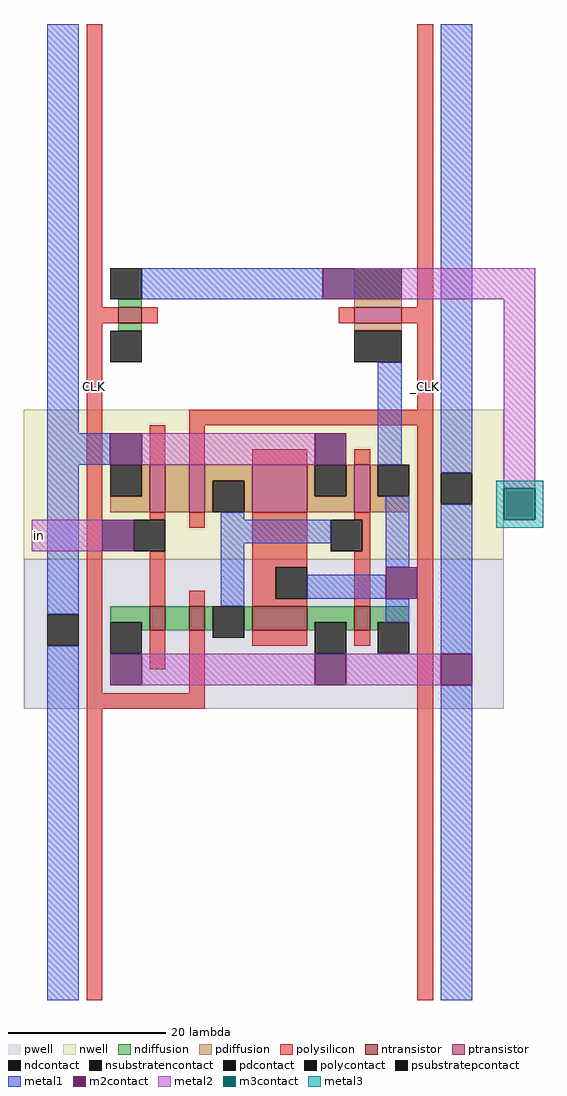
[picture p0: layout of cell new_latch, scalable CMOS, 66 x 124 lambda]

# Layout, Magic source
magic
tech scmos
<< nwell >>
rect 31 28 92 47
<< pwell >>
rect 31 9 92 28
<< ntransistor >>
rect 43 58 46 60
rect 47 19 49 22
rect 52 19 54 22
rect 60 19 67 22
rect 73 19 75 22
<< ptransistor >>
rect 73 58 79 60
rect 47 34 49 40
rect 52 34 54 40
rect 60 34 67 40
rect 73 34 75 40
<< ndiffusion >>
rect 43 60 46 61
rect 43 57 46 58
rect 42 20 47 22
rect 46 19 47 20
rect 49 19 52 22
rect 54 19 55 22
rect 59 19 60 22
rect 67 20 73 22
rect 67 19 68 20
rect 72 19 73 20
rect 75 20 80 22
rect 75 19 76 20
<< pdiffusion >>
rect 73 60 79 61
rect 73 57 79 58
rect 46 36 47 40
rect 42 34 47 36
rect 49 34 52 40
rect 54 38 60 40
rect 54 34 55 38
rect 59 34 60 38
rect 67 36 68 40
rect 72 36 73 40
rect 67 34 73 36
rect 75 36 76 40
rect 75 34 80 36
<< ndcontact >>
rect 42 61 46 65
rect 42 53 46 57
rect 42 16 46 20
rect 55 18 59 22
rect 68 16 72 20
rect 76 16 80 20
<< pdcontact >>
rect 73 61 79 65
rect 73 53 79 57
rect 42 36 46 40
rect 55 34 59 38
rect 68 36 72 40
rect 76 36 80 40
<< psubstratepcontact >>
rect 34 17 38 21
<< nsubstratencontact >>
rect 84 35 88 39
<< polysilicon >>
rect 39 60 41 96
rect 81 60 83 96
rect 39 58 43 60
rect 46 58 48 60
rect 71 58 73 60
rect 79 58 83 60
rect 39 11 41 58
rect 81 47 83 58
rect 52 45 83 47
rect 47 40 49 45
rect 52 40 54 45
rect 60 40 67 42
rect 73 40 75 42
rect 47 33 49 34
rect 52 32 54 34
rect 47 22 49 29
rect 60 27 67 34
rect 73 33 75 34
rect 74 29 75 33
rect 52 22 54 24
rect 60 23 63 27
rect 60 22 67 23
rect 73 22 75 29
rect 47 14 49 19
rect 52 11 54 19
rect 60 17 67 19
rect 73 17 75 19
rect 39 9 54 11
rect 39 -28 41 9
rect 81 -28 83 45
<< polycontact >>
rect 45 29 49 33
rect 70 29 74 33
rect 63 23 67 27
<< metal1 >>
rect 34 44 38 96
rect 46 61 69 65
rect 34 40 42 44
rect 34 21 38 40
rect 76 40 79 53
rect 56 33 59 34
rect 56 30 70 33
rect 56 22 59 30
rect 77 27 80 36
rect 84 39 88 96
rect 67 23 77 26
rect 34 -28 38 17
rect 77 20 80 23
rect 84 16 88 35
rect 84 -28 88 12
<< m2contact >>
rect 69 61 73 65
rect 42 40 46 44
rect 68 40 72 44
rect 41 29 45 33
rect 77 23 81 27
rect 42 12 46 16
rect 68 12 72 16
rect 84 12 88 16
<< metal2 >>
rect 73 61 96 65
rect 46 40 68 44
rect 92 37 96 61
rect 32 29 41 33
rect 46 12 68 16
rect 72 12 84 16
<< m3contact >>
rect 92 33 96 37
<< metal3 >>
rect 91 37 97 38
rect 91 33 92 37
rect 96 33 97 37
rect 91 32 97 33
<< labels >>
rlabel polysilicon 39 50 41 50 5 CLK
rlabel polysilicon 81 50 83 50 5 _CLK
rlabel metal2 33 29 33 33 3 in
<< end >>
